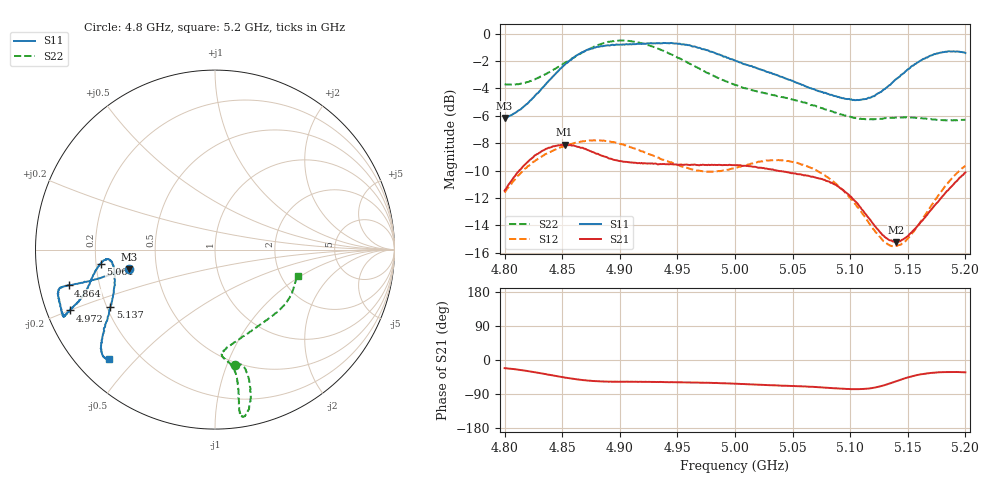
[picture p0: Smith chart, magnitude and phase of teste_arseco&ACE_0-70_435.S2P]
! Network Analyzer HP8722D
! Hewlett-Packard
! Data name: Linha & Wilkinson
! Saver's name: Rodrigo Anjos
! Comments: Teste da utilização de aquisição
! continua pelo VNA HP8722D
! Time and date: 8/5/2025 16:23
!  Frequency  S11  S21  S12  S22
# HZ  S  MA R 50
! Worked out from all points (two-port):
!   401 points, 4.8 GHz to 5.2 GHz, reference 50 ohm
!   highest |S21| = -8.11 dB at 4.852 GHz (marker M1); lowest = -15.2 dB at 5.14 GHz (marker M2)
!   |S21| within 3 dB of the highest: 4.803 GHz to 5.089 GHz (285.8 MHz wide, 5.78 % of centre); 5.188565 GHz to end of sweep
!   lowest |S11| = -6.2 dB at 4.8 GHz (marker M3), VSWR 2.94, Z = 17.2 - j4.98 ohm
!   |S11| at or under -10 dB: nowhere
!   |S22| runs from -6.3 to -0.5 dB; largest |S21 - S12| = 0.62
!   S11 on the Smith chart (normalised r, x): 4.8 GHz: 0.34, -0.10; 4.864 GHz: 0.09, -0.12; 4.972 GHz: 0.07, -0.20; 5.061 GHz: 0.22, -0.06; 5.137 GHz: 0.21, -0.25; 5.2 GHz: 0.10, -0.42
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4.8e9  0.4921 -167.1  0.2672 -21.5  0.2629 -142.6  0.6538 -80.1
4.826e9  0.5906 -166.6  0.3587 -32.2  0.3417 -146.8  0.68 -75.9
4.852e9  0.7688 -166.1  0.3932 -46.2  0.3893 -151.3  0.7806 -75.5
4.864e9  0.8398 -166.3  0.386 -51.4  0.4017 -153.1  0.8364 -76.3
4.867e9  0.8542 -166.2  0.3832 -52.6  0.4037 -153.6  0.8525 -76.5
4.898e9  0.9115 -163.5  0.3443 -57.2  0.3979 -157.4  0.9422 -79.8
4.915e9  0.9183 -160.0  0.3367 -57.6  0.3781 -157.9  0.9305 -81.3
4.934e9  0.9233 -157.0  0.3337 -58.2  0.3522 -156.2  0.8776 -81.3
4.95e9  0.9189 -156.1  0.3323 -58.8  0.3316 -153.3  0.8175 -80.7
4.972e9  0.8775 -157.3  0.3324 -59.7  0.3145 -146.8  0.7336 -80.3
5e9  0.7981 -159.8  0.3311 -62.6  0.3235 -138.1  0.6497 -82.0
5.035e9  0.7084 -166.3  0.3171 -66.9  0.3459 -135.7  0.5949 -86.2
5.061e9  0.6425 -172.9  0.3042 -69.8  0.3297 -137.9  0.56 -84.1
5.067e9  0.6291 -173.9  0.3006 -70.7  0.3225 -138.3  0.5486 -82.7
5.084e9  0.5978 -174.9  0.2856 -74.0  0.2914 -139.8  0.5204 -75.9
5.101e9  0.5756 -171.2  0.2533 -77.0  0.2482 -139.7  0.4961 -65.6
5.134e9  0.6484 -152.8  0.1762 -62.2  0.1689 -117.8  0.4922 -42.8
5.137e9  0.6649 -151.1  0.1742 -59.2  0.1675 -113.8  0.493 -41.1
5.14e9  0.6826 -149.7  0.1736 -55.9  0.1678 -109.9  0.4939 -39.3
5.151e9  0.744 -145.3  0.1843 -45.2  0.1806 -96.4  0.4941 -33.6
5.173e9  0.8423 -139.1  0.2351 -33.5  0.2445 -81.0  0.4867 -24.2
5.2e9  0.8495 -134.1  0.3113 -32.6  0.3293 -78.2  0.4852 -17.9
